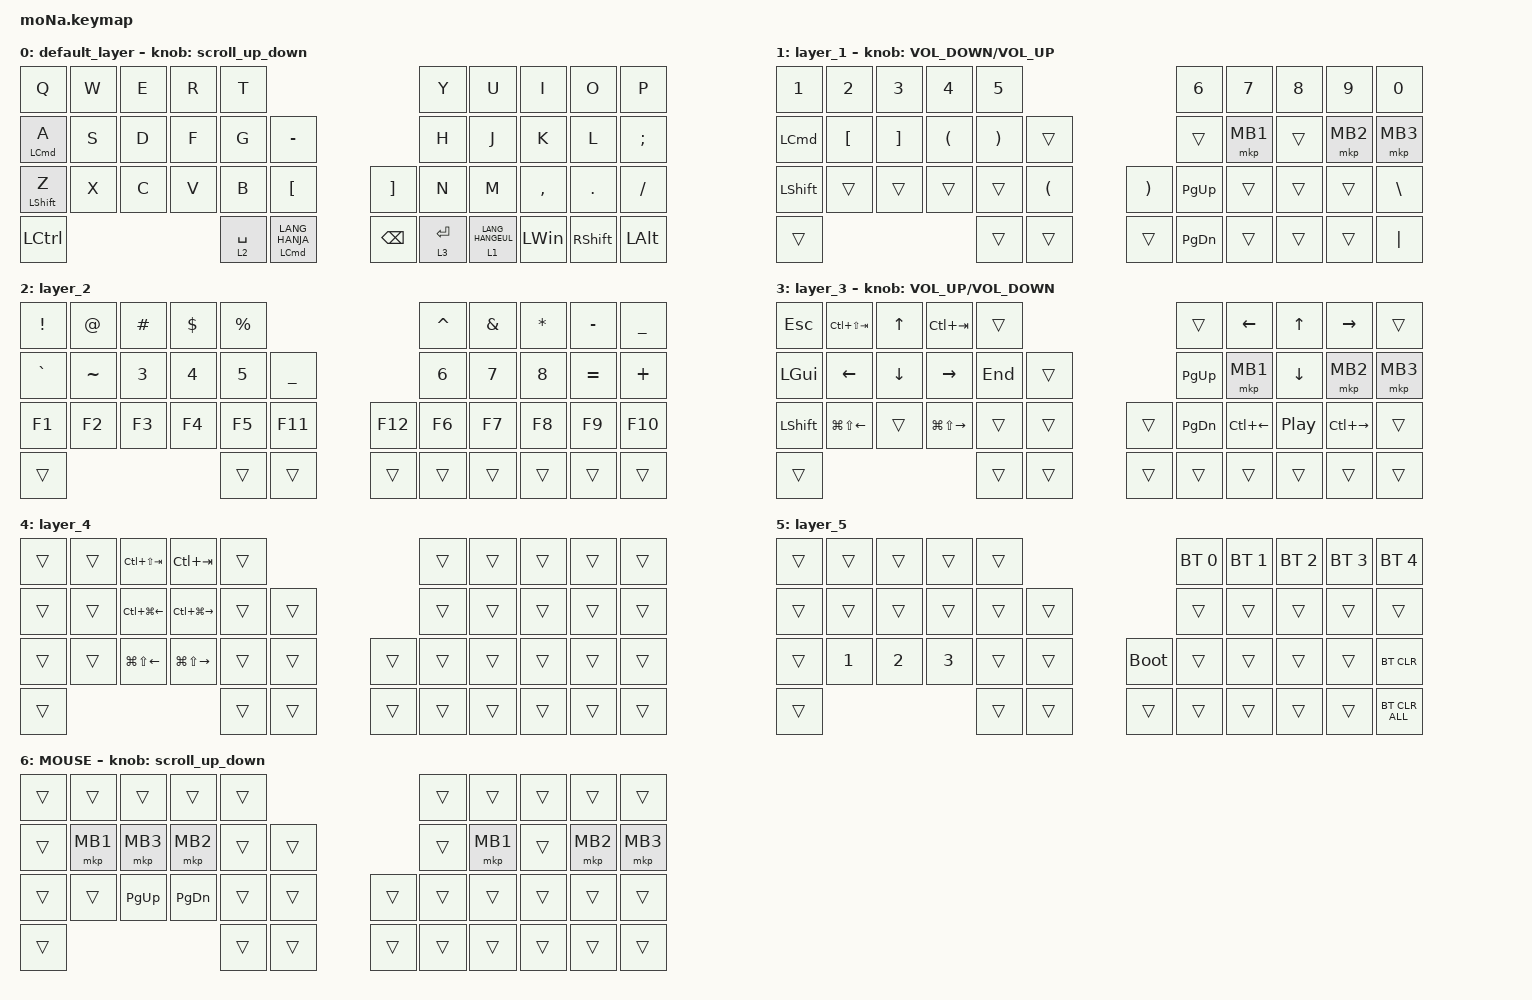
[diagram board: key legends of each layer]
#include <behaviors/rgbled_widget.dtsi>  // 新しく追加するインクルード
#include <dt-bindings/zmk/mouse.h>
#include <behaviors.dtsi>
#include <dt-bindings/zmk/bt.h>
#include <dt-bindings/zmk/keys.h>
#include <dt-bindings/zmk/pointing.h>

#define ZMK_MOUSE_DEFAULT_SCRL_VAL 100
#define MOUSE 6

&mt {
    flavor = "balanced";
    quick-tap-ms = <0>;
};

/ {
    combos {
        compatible = "zmk,combos";

        tab {
            bindings = <&kp TAB>;
            key-positions = <11 12>;
        };

        shift_tab {
            bindings = <&kp LS(TAB)>;
            key-positions = <12 13>;
        };

        double_quotation {
            bindings = <&kp DOUBLE_QUOTES>;
            key-positions = <18 19>;
            layers = <0>;
        };

        eq {
            bindings = <&kp EQUAL>;
            key-positions = <8 9>;
        };

        single_quote {
            bindings = <&kp SQT>;
            key-positions = <20 19>;
        };

        minus {
            bindings = <&kp MINUS>;
            key-positions = <8 7>;
        };
    };

    macros {
        to_layer_0: to_layer_0 {
            compatible = "zmk,behavior-macro-one-param";
            #binding-cells = <1>;
            bindings = <&to 0 &macro_param_1to1 &kp MACRO_PLACEHOLDER>;
            label = "TO_LAYER_0";
        };
    };

    behaviors {
        lt_to_layer_0: lt_to_layer_0 {
            compatible = "zmk,behavior-hold-tap";
            label = "LAYER_TAP_TO_0";
            bindings = <&mo>, <&to_layer_0>;

            #binding-cells = <2>;
            tapping-term-ms = <200>;
        };

        // 新しいスクロール動作の追加

        scroll_up_down: behavior_sensor_rotate_mouse_wheel_up_down {
            compatible = "zmk,behavior-sensor-rotate";
            #sensor-binding-cells = <0>;
            bindings = <&msc SCRL_UP>, <&msc SCRL_DOWN>;

            // 追加: スクロールのタップ時間を設定 (20ms)

            tap-ms = <20>;
        };
    };

    keymap {
        compatible = "zmk,keymap";

        default_layer {
            bindings = <
&kp Q               &kp W  &kp E  &kp R  &kp T                                                          &kp Y        &kp U                          &kp I         &kp O            &kp P
&mt LEFT_COMMAND A  &kp S  &kp D  &kp F  &kp G        &kp MINUS                                         &kp H        &kp J                          &kp K         &kp L            &kp SEMICOLON
&mt LEFT_SHIFT Z    &kp X  &kp C  &kp V  &kp B        &kp LEFT_BRACKET               &kp RIGHT_BRACKET  &kp N        &kp M                          &kp COMMA     &kp PERIOD       &kp SLASH
&kp LCTRL                                &lt 2 SPACE  &mt LEFT_COMMAND LANG_HANJA    &kp BACKSPACE      &lt 3 ENTER  &lt_to_layer_0 1 LANG_HANGEUL  &kp LEFT_WIN  &kp RIGHT_SHIFT  &kp LEFT_ALT
            >;

            sensor-bindings = <&scroll_up_down>;
        };

        layer_1 {
            bindings = <
&kp NUMBER_1      &kp NUMBER_2      &kp NUMBER_3       &kp NUMBER_4          &kp NUMBER_5                                                          &kp NUMBER_6   &kp N7    &kp N8  &kp N9    &kp N0
&kp LEFT_COMMAND  &kp LEFT_BRACKET  &kp RIGHT_BRACKET  &kp LEFT_PARENTHESIS  &kp RIGHT_PARENTHESIS  &trans                                         &trans         &mkp MB1  &trans  &mkp MB2  &mkp MB3
&kp LEFT_SHIFT    &trans            &trans             &trans                &trans                 &kp LEFT_PARENTHESIS    &kp RIGHT_PARENTHESIS  &kp PAGE_UP    &trans    &trans  &trans    &kp BACKSLASH
&trans                                                                       &trans                 &trans                  &trans                 &kp PAGE_DOWN  &trans    &trans  &trans    &kp PIPE
            >;

            sensor-bindings = <&inc_dec_kp C_VOLUME_DOWN C_VOLUME_UP>;
        };

        layer_2 {
            bindings = <
&kp EXCLAMATION  &kp AT_SIGN  &kp HASH  &kp DOLLAR  &kp PERCENT                             &kp CARET  &kp AMPERSAND  &kp ASTERISK  &kp MINUS  &kp UNDERSCORE
&kp GRAVE        &kp TILDE    &kp 3     &kp 4       &kp 5        &kp UNDERSCORE             &kp 6      &kp 7          &kp 8         &kp EQUAL  &kp PLUS
&kp F1           &kp F2       &kp F3    &kp F4      &kp F5       &kp F11           &kp F12  &kp F6     &kp F7         &kp F8        &kp F9     &kp F10
&trans                                              &trans       &trans            &trans   &trans     &trans         &trans        &trans     &trans
            >;
        };

        layer_3 {
            bindings = <
&kp ESCAPE      &kp LC(LS(TAB))         &kp UP_ARROW    &kp LC(TAB)              &trans                     &trans         &kp LEFT_ARROW  &kp UP_ARROW      &kp RIGHT      &trans
&kp LEFT_GUI    &kp LEFT_ARROW          &kp DOWN_ARROW  &kp RIGHT_ARROW          &kp END  &trans            &kp PAGE_UP    &mkp MB1        &kp DOWN_ARROW    &mkp MB2       &mkp MB3
&kp LEFT_SHIFT  &kp LG(LS(LEFT_ARROW))  &trans          &kp LG(LS(RIGHT_ARROW))  &trans   &trans    &trans  &kp PAGE_DOWN  &kp LC(LEFT)    &kp C_PLAY_PAUSE  &kp LC(RIGHT)  &trans
&trans                                                                           &trans   &trans    &trans  &trans         &trans          &trans            &trans         &trans
            >;

            sensor-bindings = <&inc_dec_kp C_VOLUME_UP C_VOLUME_DOWN>;
        };

        layer_4 {
            bindings = <
&trans  &trans  &kp LC(LS(TAB))         &kp LC(TAB)              &trans                    &trans  &trans  &trans  &trans  &trans
&trans  &trans  &kp LC(LG(LEFT_ARROW))  &kp LC(LG(RIGHT_ARROW))  &trans  &trans            &trans  &trans  &trans  &trans  &trans
&trans  &trans  &kp LG(LS(LEFT_ARROW))  &kp LG(LS(RIGHT_ARROW))  &trans  &trans    &trans  &trans  &trans  &trans  &trans  &trans
&trans                                                           &trans  &trans    &trans  &trans  &trans  &trans  &trans  &trans
            >;
        };

        layer_5 {
            bindings = <
&trans  &trans        &trans        &trans        &trans                         &bt BT_SEL 0  &bt BT_SEL 1  &bt BT_SEL 2  &bt BT_SEL 3  &bt BT_SEL 4
&trans  &trans        &trans        &trans        &trans  &trans                 &trans        &trans        &trans        &trans        &trans
&trans  &kp NUMBER_1  &kp NUMBER_2  &kp NUMBER_3  &trans  &trans    &bootloader  &trans        &trans        &trans        &trans        &bt BT_CLR
&trans                                            &trans  &trans    &trans       &trans        &trans        &trans        &trans        &bt BT_CLR_ALL
            >;
        };

        MOUSE {
            bindings = <
&trans  &trans    &trans       &trans         &trans                    &trans  &trans    &trans  &trans    &trans
&trans  &mkp MB1  &mkp MB3     &mkp MB2       &trans  &trans            &trans  &mkp MB1  &trans  &mkp MB2  &mkp MB3
&trans  &trans    &kp PAGE_UP  &kp PAGE_DOWN  &trans  &trans    &trans  &trans  &trans    &trans  &trans    &trans
&trans                                        &trans  &trans    &trans  &trans  &trans    &trans  &trans    &trans
            >;

            sensor-bindings = <&scroll_up_down>;
        };
    };
};
